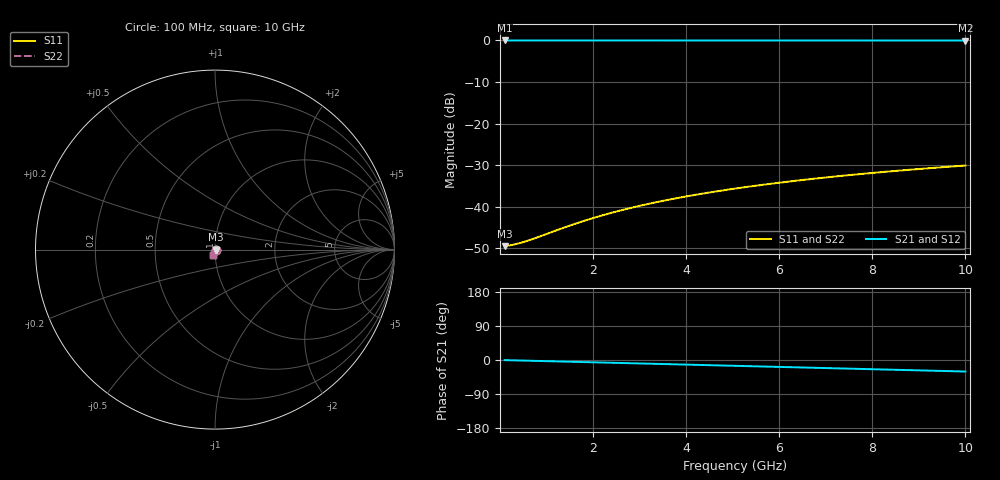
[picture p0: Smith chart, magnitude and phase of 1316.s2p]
# Hz S RI R 50.00
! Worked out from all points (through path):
!   100 points, 100 MHz to 10 GHz, reference 50 ohm
!   highest |S21| = -0.03 dB at 100 MHz (marker M1); lowest = 0.0 dB at 10 GHz (marker M2)
!   group delay of S21, straight-line fit = 8.45 ps
!   lowest |S11| = -49.5 dB at 100 MHz (marker M3), VSWR 1.01, Z = 50.3 - j0.0341 ohm
!   |S11| at or under -10 dB: start of sweep to end of sweep
!   |S22| runs from -49.5 to -30.1 dB; largest |S21 - S12| = 0
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1e8  0.00333 -0.000339  0.9966 -0.00528  0.9966 -0.00528  0.00333 -0.000339
2e8  0.00335 -0.000679  0.9966 -0.0106  0.9966 -0.0106  0.00335 -0.000679
3e8  0.00335 -0.00102  0.9965 -0.0158  0.9965 -0.0158  0.00335 -0.00102
4e8  0.00335 -0.00136  0.9964 -0.0211  0.9964 -0.0211  0.00335 -0.00136
6e8  0.00333 -0.00204  0.9961 -0.0317  0.9961 -0.0317  0.00333 -0.00204
8e8  0.0033 -0.00271  0.9956 -0.0422  0.9956 -0.0422  0.0033 -0.00271
1.4e9  0.00309 -0.00474  0.9937 -0.0739  0.9937 -0.0739  0.00309 -0.00474
1.8e9  0.00288 -0.00609  0.9919 -0.0949  0.9919 -0.0949  0.00288 -0.00609
2.2e9  0.0026 -0.00742  0.9896 -0.1159  0.9896 -0.1159  0.0026 -0.00742
2.6e9  0.00227 -0.00875  0.9869 -0.1369  0.9869 -0.1369  0.00227 -0.00875
3e9  0.00189 -0.0101  0.9837 -0.1578  0.9837 -0.1578  0.00189 -0.0101
3.4e9  0.00145 -0.0113  0.9801 -0.1786  0.9801 -0.1786  0.00145 -0.0113
3.8e9  0.000956 -0.0126  0.9761 -0.1993  0.9761 -0.1993  0.000956 -0.0126
4.2e9  0.000408 -0.0139  0.9716 -0.22  0.9716 -0.22  0.000408 -0.0139
4.6e9  -0.000192 -0.0151  0.9667 -0.2406  0.9667 -0.2406  -0.000192 -0.0151
5.1e9  -0.00101 -0.0166  0.9599 -0.2661  0.9599 -0.2661  -0.00101 -0.0166
5.9e9  -0.00249 -0.0189  0.9476 -0.3066  0.9476 -0.3066  -0.00249 -0.0189
6.7e9  -0.00416 -0.0211  0.9336 -0.3466  0.9336 -0.3466  -0.00416 -0.0211
7.5e9  -0.00601 -0.0232  0.9179 -0.386  0.9179 -0.386  -0.00601 -0.0232
8.4e9  -0.00828 -0.0253  0.8983 -0.4294  0.8983 -0.4294  -0.00828 -0.0253
9.2e9  -0.0105 -0.027  0.8791 -0.4672  0.8791 -0.4672  -0.0105 -0.027
1e10  -0.0128 -0.0285  0.8582 -0.5042  0.8582 -0.5042  -0.0128 -0.0285
